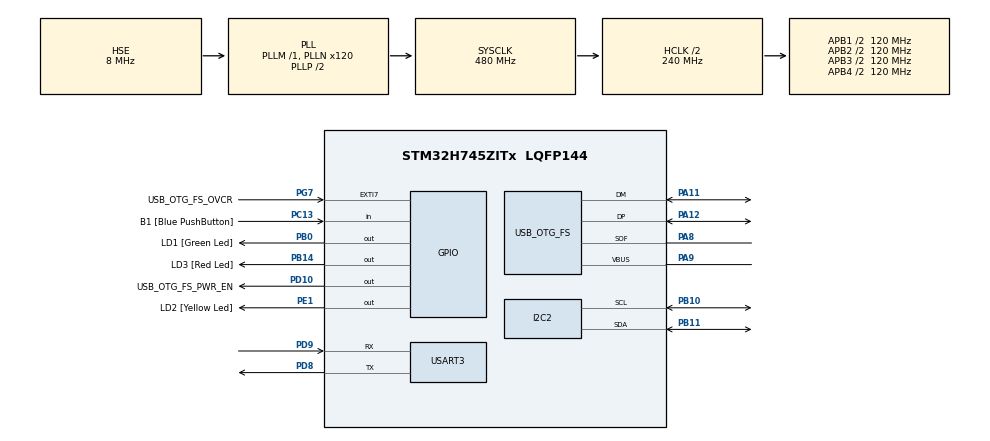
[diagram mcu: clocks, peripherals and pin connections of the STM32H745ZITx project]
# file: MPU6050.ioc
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CortexM4.IPs=FATFS_M4\:I,FREERTOS_M4\:I,IWDG2\:I,RCC,WWDG2\:I,DMA,BDMA,MDMA,NVIC2\:I,DEBUG,USB_DEVICE_M4\:I,USB_HOST_M4\:I,PDM2PCM_M4\:I,PWR,RESMGR_UTILITY,SYS_M4\:I,CORTEX_M4\:I,OPENAMP_M4\:I,VREFBUF
CortexM7.IPs=FATFS_M7\:I,FREERTOS_M7\:I,IWDG1\:I,RCC\:I,WWDG1\:I,DMA\:I,BDMA\:I,MDMA\:I,NVIC1\:I,SYS\:I,USART3\:I,USB_OTG_FS\:I,CORTEX_M7\:I,DEBUG\:I,USB_DEVICE_M7\:I,USB_HOST_M7\:I,PDM2PCM_M7\:I,PWR\:I,RESMGR_UTILITY\:I,OPENAMP_M7\:I,VREFBUF\:I,TIM7\:I,I2C2\:I
CortexM7.Pins=PB0
I2C2.Timing=0x307075B1
Mcu.Family=STM32H7
Mcu.Name=STM32H745ZITx
Mcu.Package=LQFP144
NVIC1.PriorityGroup=NVIC_PRIORITYGROUP_4
NVIC1.TIM7_IRQn=true\:0\:0\:false\:false\:true\:true\:true
NVIC2.PriorityGroup=NVIC_PRIORITYGROUP_4
PA1.PinAttribute=CortexM7
PA1.Signal=ETH_REF_CLK
PA11.Mode=Device_Only
PA11.PinAttribute=CortexM7
PA11.Signal=USB_OTG_FS_DM
PA12.Mode=Device_Only
PA12.PinAttribute=CortexM7
PA12.Signal=USB_OTG_FS_DP
PA2.PinAttribute=CortexM7
PA2.Signal=ETH_MDIO
PA7.PinAttribute=CortexM7
PA7.Signal=ETH_CRS_DV
PA8.Mode=Activate_SOF_FS
PA8.PinAttribute=CortexM7
PA8.Signal=USB_OTG_FS_SOF
PA9.Mode=Activate_VBUS
PA9.PinAttribute=CortexM7
PA9.Signal=USB_OTG_FS_VBUS
PB0.GPIO_Label=LD1 [Green Led]
PB0.GPIO_PuPd=GPIO_PULLUP
PB0.GPIO_Speed=GPIO_SPEED_FREQ_HIGH
PB0.PinAttribute=CortexM7
PB0.Signal=GPIO_Output
PB10.Mode=I2C
PB10.PinAttribute=CortexM7
PB10.Signal=I2C2_SCL
PB11.Mode=I2C
PB11.PinAttribute=CortexM7
PB11.Signal=I2C2_SDA
PB13.PinAttribute=CortexM7
PB13.Signal=ETH_TXD1
PB14.GPIO_Label=LD3 [Red Led]
PB14.PinAttribute=Free
PB14.Signal=GPIO_Output
PC1.PinAttribute=CortexM7
PC1.Signal=ETH_MDC
PC13.GPIO_Label=B1 [Blue PushButton]
PC13.PinAttribute=Free
PC13.Signal=GPIO_Input
PC14-OSC32_IN\ (OSC32_IN).Mode=LSE-External-Oscillator
PC14-OSC32_IN\ (OSC32_IN).PinAttribute=CortexM7
PC14-OSC32_IN\ (OSC32_IN).Signal=RCC_OSC32_IN
PC15-OSC32_OUT\ (OSC32_OUT).Mode=LSE-External-Oscillator
PC15-OSC32_OUT\ (OSC32_OUT).PinAttribute=CortexM7
PC15-OSC32_OUT\ (OSC32_OUT).Signal=RCC_OSC32_OUT
PC4.PinAttribute=CortexM7
PC4.Signal=ETH_RXD0
PC5.PinAttribute=CortexM7
PC5.Signal=ETH_RXD1
PD10.GPIO_Label=USB_OTG_FS_PWR_EN
PD10.PinAttribute=Free
PD10.Signal=GPIO_Output
PD8.GPIO_ModeDefaultPP=GPIO_MODE_AF_PP
PD8.GPIO_PuPd=GPIO_NOPULL
PD8.GPIO_Speed=GPIO_SPEED_FREQ_LOW
PD8.Mode=Asynchronous
PD8.PinAttribute=CortexM7
PD8.Signal=USART3_TX
PD9.GPIO_ModeDefaultPP=GPIO_MODE_AF_PP
PD9.GPIO_PuPd=GPIO_NOPULL
PD9.GPIO_Speed=GPIO_SPEED_FREQ_LOW
PD9.Mode=Asynchronous
PD9.PinAttribute=CortexM7
PD9.Signal=USART3_RX
PE1.GPIO_Label=LD2 [Yellow Led]
PE1.PinAttribute=Free
PE1.Signal=GPIO_Output
PG11.PinAttribute=CortexM7
PG11.Signal=ETH_TX_EN
PG13.PinAttribute=CortexM7
PG13.Signal=ETH_TXD0
PG7.GPIO_Label=USB_OTG_FS_OVCR
PG7.PinAttribute=Free
PG7.Signal=GPXTI7
PH0-OSC_IN\ (PH0).Mode=HSE-External-Clock-Source
PH0-OSC_IN\ (PH0).PinAttribute=CortexM7
PH0-OSC_IN\ (PH0).Signal=RCC_OSC_IN
PH1-OSC_OUT\ (PH1).PinAttribute=CortexM7
PH1-OSC_OUT\ (PH1).Signal=RCC_OSC_OUT
ProjectManager.HeapSize=M4-0x200,M7-0x200
ProjectManager.StackSize=M4-0x400,M7-0x400
ProjectManager.TargetToolchain=STM32CubeIDE
RCC.ADCFreq_Value=16125000
RCC.APB1Freq_Value=120000000
RCC.APB2Freq_Value=120000000
RCC.APB3Freq_Value=120000000
RCC.APB4Freq_Value=120000000
RCC.CortexFreq_Value=480000000
RCC.D1PPRE=RCC_APB3_DIV2
RCC.D2PPRE1=RCC_APB1_DIV2
RCC.D2PPRE2=RCC_APB2_DIV2
RCC.D3PPRE=RCC_APB4_DIV2
RCC.DIVM1=1
RCC.DIVM3=1
RCC.DIVN1=120
RCC.DIVN3=24
RCC.DIVQ3=4
RCC.HCLKFreq_Value=240000000
RCC.HPRE=RCC_HCLK_DIV2
RCC.HSE_VALUE=8000000
RCC.PLL2FRACN=0
RCC.PLL3FRACN=0
RCC.PLLFRACN=0
RCC.SYSCLKFreq_VALUE=480000000
RCC.SYSCLKSource=RCC_SYSCLKSOURCE_PLLCLK
RCC.SupplySource=PWR_DIRECT_SMPS_SUPPLY
RCC.USBCLockSelection=RCC_USBCLKSOURCE_PLL3
RCC.USBFreq_Value=48000000
TIM7.Period=4999
TIM7.Prescaler=47999
USART3.VirtualMode-Asynchronous=VM_ASYNC
USB_OTG_FS.VirtualMode=Device_Only
VP_SYS_M4_VS_Systick.Mode=SysTick
VP_TIM7_VS_ClockSourceINT.Mode=Enable_Timer
board=NUCLEO-H745ZI-Q

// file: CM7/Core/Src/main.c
/* USER CODE BEGIN Header */
/**
  ******************************************************************************
  * @file           : main.c
  * @brief          : Main program body
  ******************************************************************************
  * @attention
  *
  * <h2><center>&copy; Copyright (c) 2021 STMicroelectronics.
  * All rights reserved.</center></h2>
  *
  * This software component is licensed by ST under BSD 3-Clause license,
  * the "License"; You may not use this file except in compliance with the
  * License. You may obtain a copy of the License at:
  *                        opensource.org/licenses/BSD-3-Clause
  *
  ******************************************************************************
  */
/* USER CODE END Header */
#include "main.h"

/* USER CODE BEGIN Includes */
#include "stdio.h"
/* USER CODE END Includes */

/* USER CODE BEGIN PD */

#ifndef HSEM_ID_0
#define HSEM_ID_0 (0U) /* HW semaphore 0*/
#endif
/* USER CODE END PD */

I2C_HandleTypeDef hi2c2;

TIM_HandleTypeDef htim7;

UART_HandleTypeDef huart3;

PCD_HandleTypeDef hpcd_USB_OTG_FS;

void SystemClock_Config(void);
static void MX_GPIO_Init(void);
static void MX_USART3_UART_Init(void);
static void MX_USB_OTG_FS_PCD_Init(void);
static void MX_TIM7_Init(void);
static void MX_I2C2_Init(void);

/* USER CODE BEGIN 0 */

#define WHO_AM_I 0X75
#define SMPLRT_DIV 0x19
#define GYRO_CONFIG 0X1B
#define ACCEL_CONFIG 0x1C
#define ACCEL_XOUT_H 0x3B
#define TEMP_OUT_H 0x41
#define GYRO_XOUT_H 0x43
#define PWR_MGMT_1 0x6B
#define MPU6050 0xD0 // acceletometer direciont

void MPU6050_init(){
	uint8_t check; // check data
	uint8_t data; //send data

	HAL_I2C_Mem_Read(&hi2c2,  MPU6050 , WHO_AM_I, 1, &check, 1, 1000);
	if(check == 104){ // WHO_I_AM Register default value

		// COnfigure clock to 8MHZ oscilator
		data = 0x00;
		HAL_I2C_Mem_Write(&hi2c2, MPU6050, PWR_MGMT_1, 1, &data, 1, 1000);
		/* Sample rate = 8khz/(1+SMPLRT_DIV)
		 * Send 7 to SMPLRT_DIV register to obtain 1khz sample rate
		 * */
		data = 0x07;
		HAL_I2C_Mem_Write(&hi2c2, MPU6050 , SMPLRT_DIV, 1, &data, 1, 1000);

		// Configure giroscope Full scale range
		// +-250 °/s => FS_SEL = 0
		data = 0x00;
		HAL_I2C_Mem_Write(&hi2c2, MPU6050 , GYRO_CONFIG, 1, &data, 1, 1000);
		// cONFIGURE ACCELEROMETER
		// +-2 G => AFS_SEL = 0
		data = 0x00;
		HAL_I2C_Mem_Write(&hi2c2, MPU6050 , ACCEL_CONFIG, 1, &data, 1, 1000);

		for(int i = 0;i < 5;i++){ // confirmation
			HAL_GPIO_WritePin(GPIOB, GPIO_PIN_0, GPIO_PIN_SET);
			HAL_Delay(500);
			HAL_GPIO_WritePin(GPIOB, GPIO_PIN_0, GPIO_PIN_RESET);
			HAL_Delay(500);

		}

	}
}

void MPU6050_read_acc(){
	uint8_t buffer[6];
	int16_t ax_raw,ay_raw,az_raw;
	float ax,ay,az;
	HAL_I2C_Mem_Read(&hi2c2, MPU6050, ACCEL_XOUT_H, 1, &buffer, 6, 1000);
	ax_raw = (int16_t)(buffer[0] << 8 | buffer[1]);
	ay_raw = (int16_t)(buffer[2] << 8 | buffer[3]);
	az_raw = (int16_t)(buffer[4] << 8 | buffer[5]);

	ax = ax_raw/16384.0;
	ay = ay_raw/16384.0;
	az = az_raw/16384.0;

	// uart transfer
	char uartBuffer[50];
	uint8_t uart_buff_len;

	uart_buff_len = sprintf(uartBuffer,"Accelerometer \r\n");
	HAL_UART_Transmit(&huart3, (uint8_t *) uartBuffer, uart_buff_len, 1000);

	uart_buff_len = sprintf(uartBuffer,"AX: %.2f m/s^2 \r\n",ax);
	HAL_UART_Transmit(&huart3, (uint8_t *) uartBuffer, uart_buff_len, 1000);

	uart_buff_len = sprintf(uartBuffer,"AY: %.2f m/s^2 \r\n",ay);
	HAL_UART_Transmit(&huart3, (uint8_t *) uartBuffer, uart_buff_len, 1000);

	uart_buff_len = sprintf(uartBuffer,"AZ: %.2f m/s^2 \r\n",az);
	HAL_UART_Transmit(&huart3, (uint8_t *) uartBuffer, uart_buff_len, 1000);

}

void MPU6050_read_gyro(){
	uint8_t buffer[6];
	int16_t gx_raw,gy_raw,gz_raw;
	float gx,gy,gz;
	HAL_I2C_Mem_Read(&hi2c2, MPU6050, GYRO_XOUT_H, 1, buffer, 6, 1000);
	gx_raw = (int16_t)(buffer[0] << 8 | buffer [1]);
	gy_raw = (int16_t)(buffer[2] << 8 | buffer [3]);
	gz_raw = (int16_t)(buffer[4] << 8 | buffer [5]);

	gx = gx_raw/131.0;
	gy = gy_raw/131.0;
	gz = gz_raw/131.0;

	// uart transfer
	char uartBuffer[50];
	uint8_t uart_buff_len;

	uart_buff_len = sprintf(uartBuffer,"Giroscope \r\n");
	HAL_UART_Transmit(&huart3, (uint8_t *) uartBuffer, uart_buff_len, 1000);

	uart_buff_len = sprintf(uartBuffer,"GX: %.2f °/s \r\n",gx);
	HAL_UART_Transmit(&huart3, (uint8_t *) uartBuffer, uart_buff_len, 1000);

	uart_buff_len = sprintf(uartBuffer,"GY: %.2f °/s \r\n",gy);
	HAL_UART_Transmit(&huart3, (uint8_t *) uartBuffer, uart_buff_len, 1000);

	uart_buff_len = sprintf(uartBuffer,"GZ: %.2f °/s \r\n",gz);
	HAL_UART_Transmit(&huart3, (uint8_t *) uartBuffer, uart_buff_len, 1000);
}

/* USER CODE END 0 */

int main(void)
{
/* USER CODE BEGIN Boot_Mode_Sequence_0 */
  int32_t timeout;
/* USER CODE END Boot_Mode_Sequence_0 */

/* USER CODE BEGIN Boot_Mode_Sequence_1 */
  /* Wait until CPU2 boots and enters in stop mode or timeout*/
  timeout = 0xFFFF;
  while((__HAL_RCC_GET_FLAG(RCC_FLAG_D2CKRDY) != RESET) && (timeout-- > 0));
  if ( timeout < 0 )
  {
  Error_Handler();
  }
/* USER CODE END Boot_Mode_Sequence_1 */
  /* MCU Configuration--------------------------------------------------------*/

  /* Reset of all peripherals, Initializes the Flash interface and the Systick. */
  HAL_Init();

  /* Configure the system clock */
  SystemClock_Config();
/* USER CODE BEGIN Boot_Mode_Sequence_2 */
/* When system initialization is finished, Cortex-M7 will release Cortex-M4 by means of
HSEM notification */
/*HW semaphore Clock enable*/
__HAL_RCC_HSEM_CLK_ENABLE();
/*Take HSEM */
HAL_HSEM_FastTake(HSEM_ID_0);
/*Release HSEM in order to notify the CPU2(CM4)*/
HAL_HSEM_Release(HSEM_ID_0,0);
/* wait until CPU2 wakes up from stop mode */
timeout = 0xFFFF;
while((__HAL_RCC_GET_FLAG(RCC_FLAG_D2CKRDY) == RESET) && (timeout-- > 0));
if ( timeout < 0 )
{
Error_Handler();
}
/* USER CODE END Boot_Mode_Sequence_2 */

  /* Initialize all configured peripherals */
  MX_GPIO_Init();
  MX_USART3_UART_Init();
  MX_USB_OTG_FS_PCD_Init();
  MX_TIM7_Init();
  MX_I2C2_Init();
  /* USER CODE BEGIN 2 */
  HAL_TIM_Base_Start_IT(&htim7);
  MPU6050_init();

  /* USER CODE END 2 */

  /* Infinite loop */
  while (1)
  {

  }
}

void SystemClock_Config(void)
{
  RCC_OscInitTypeDef RCC_OscInitStruct = {0};
  RCC_ClkInitTypeDef RCC_ClkInitStruct = {0};

  /** Supply configuration update enable
  */
  HAL_PWREx_ConfigSupply(PWR_DIRECT_SMPS_SUPPLY);
  /** Configure the main internal regulator output voltage
  */
  __HAL_PWR_VOLTAGESCALING_CONFIG(PWR_REGULATOR_VOLTAGE_SCALE0);

  while(!__HAL_PWR_GET_FLAG(PWR_FLAG_VOSRDY)) {}
  /** Macro to configure the PLL clock source
  */
  __HAL_RCC_PLL_PLLSOURCE_CONFIG(RCC_PLLSOURCE_HSE);
  /** Initializes the RCC Oscillators according to the specified parameters
  * in the RCC_OscInitTypeDef structure.
  */
  RCC_OscInitStruct.OscillatorType = RCC_OSCILLATORTYPE_HSE;
  RCC_OscInitStruct.HSEState = RCC_HSE_BYPASS;
  RCC_OscInitStruct.PLL.PLLState = RCC_PLL_ON;
  RCC_OscInitStruct.PLL.PLLSource = RCC_PLLSOURCE_HSE;
  RCC_OscInitStruct.PLL.PLLM = 1;
  RCC_OscInitStruct.PLL.PLLN = 120;
  RCC_OscInitStruct.PLL.PLLP = 2;
  RCC_OscInitStruct.PLL.PLLQ = 2;
  RCC_OscInitStruct.PLL.PLLR = 2;
  RCC_OscInitStruct.PLL.PLLRGE = RCC_PLL1VCIRANGE_3;
  RCC_OscInitStruct.PLL.PLLVCOSEL = RCC_PLL1VCOWIDE;
  RCC_OscInitStruct.PLL.PLLFRACN = 0;
  if (HAL_RCC_OscConfig(&RCC_OscInitStruct) != HAL_OK)
  {
    Error_Handler();
  }
  /** Initializes the CPU, AHB and APB buses clocks
  */
  RCC_ClkInitStruct.ClockType = RCC_CLOCKTYPE_HCLK|RCC_CLOCKTYPE_SYSCLK
                              |RCC_CLOCKTYPE_PCLK1|RCC_CLOCKTYPE_PCLK2
                              |RCC_CLOCKTYPE_D3PCLK1|RCC_CLOCKTYPE_D1PCLK1;
  RCC_ClkInitStruct.SYSCLKSource = RCC_SYSCLKSOURCE_PLLCLK;
  RCC_ClkInitStruct.SYSCLKDivider = RCC_SYSCLK_DIV1;
  RCC_ClkInitStruct.AHBCLKDivider = RCC_HCLK_DIV2;
  RCC_ClkInitStruct.APB3CLKDivider = RCC_APB3_DIV2;
  RCC_ClkInitStruct.APB1CLKDivider = RCC_APB1_DIV2;
  RCC_ClkInitStruct.APB2CLKDivider = RCC_APB2_DIV2;
  RCC_ClkInitStruct.APB4CLKDivider = RCC_APB4_DIV2;

  if (HAL_RCC_ClockConfig(&RCC_ClkInitStruct, FLASH_LATENCY_4) != HAL_OK)
  {
    Error_Handler();
  }
}

static void MX_I2C2_Init(void)
{

  hi2c2.Instance = I2C2;
  hi2c2.Init.Timing = 0x307075B1;
  hi2c2.Init.OwnAddress1 = 0;
  hi2c2.Init.AddressingMode = I2C_ADDRESSINGMODE_7BIT;
  hi2c2.Init.DualAddressMode = I2C_DUALADDRESS_DISABLE;
  hi2c2.Init.OwnAddress2 = 0;
  hi2c2.Init.OwnAddress2Masks = I2C_OA2_NOMASK;
  hi2c2.Init.GeneralCallMode = I2C_GENERALCALL_DISABLE;
  hi2c2.Init.NoStretchMode = I2C_NOSTRETCH_DISABLE;
  if (HAL_I2C_Init(&hi2c2) != HAL_OK)
  {
    Error_Handler();
  }
  /** Configure Analogue filter
  */
  if (HAL_I2CEx_ConfigAnalogFilter(&hi2c2, I2C_ANALOGFILTER_ENABLE) != HAL_OK)
  {
    Error_Handler();
  }
  /** Configure Digital filter
  */
  if (HAL_I2CEx_ConfigDigitalFilter(&hi2c2, 0) != HAL_OK)
  {
    Error_Handler();
  }

}

static void MX_TIM7_Init(void)
{

  TIM_MasterConfigTypeDef sMasterConfig = {0};

  htim7.Instance = TIM7;
  htim7.Init.Prescaler = 47999;
  htim7.Init.CounterMode = TIM_COUNTERMODE_UP;
  htim7.Init.Period = 4999;
  htim7.Init.AutoReloadPreload = TIM_AUTORELOAD_PRELOAD_DISABLE;
  if (HAL_TIM_Base_Init(&htim7) != HAL_OK)
  {
    Error_Handler();
  }
  sMasterConfig.MasterOutputTrigger = TIM_TRGO_RESET;
  sMasterConfig.MasterSlaveMode = TIM_MASTERSLAVEMODE_DISABLE;
  if (HAL_TIMEx_MasterConfigSynchronization(&htim7, &sMasterConfig) != HAL_OK)
  {
    Error_Handler();
  }

}

static void MX_USART3_UART_Init(void)
{

  huart3.Instance = USART3;
  huart3.Init.BaudRate = 115200;
  huart3.Init.WordLength = UART_WORDLENGTH_8B;
  huart3.Init.StopBits = UART_STOPBITS_1;
  huart3.Init.Parity = UART_PARITY_NONE;
  huart3.Init.Mode = UART_MODE_TX_RX;
  huart3.Init.HwFlowCtl = UART_HWCONTROL_NONE;
  huart3.Init.OverSampling = UART_OVERSAMPLING_16;
  huart3.Init.OneBitSampling = UART_ONE_BIT_SAMPLE_DISABLE;
  huart3.Init.ClockPrescaler = UART_PRESCALER_DIV1;
  huart3.AdvancedInit.AdvFeatureInit = UART_ADVFEATURE_NO_INIT;
  if (HAL_UART_Init(&huart3) != HAL_OK)
  {
    Error_Handler();
  }
  if (HAL_UARTEx_SetTxFifoThreshold(&huart3, UART_TXFIFO_THRESHOLD_1_8) != HAL_OK)
  {
    Error_Handler();
  }
  if (HAL_UARTEx_SetRxFifoThreshold(&huart3, UART_RXFIFO_THRESHOLD_1_8) != HAL_OK)
  {
    Error_Handler();
  }
  if (HAL_UARTEx_DisableFifoMode(&huart3) != HAL_OK)
  {
    Error_Handler();
  }

}

static void MX_USB_OTG_FS_PCD_Init(void)
{

  hpcd_USB_OTG_FS.Instance = USB_OTG_FS;
  hpcd_USB_OTG_FS.Init.dev_endpoints = 9;
  hpcd_USB_OTG_FS.Init.speed = PCD_SPEED_FULL;
  hpcd_USB_OTG_FS.Init.dma_enable = DISABLE;
  hpcd_USB_OTG_FS.Init.phy_itface = PCD_PHY_EMBEDDED;
  hpcd_USB_OTG_FS.Init.Sof_enable = DISABLE;
  hpcd_USB_OTG_FS.Init.low_power_enable = DISABLE;
  hpcd_USB_OTG_FS.Init.lpm_enable = DISABLE;
  hpcd_USB_OTG_FS.Init.battery_charging_enable = ENABLE;
  hpcd_USB_OTG_FS.Init.vbus_sensing_enable = ENABLE;
  hpcd_USB_OTG_FS.Init.use_dedicated_ep1 = DISABLE;
  if (HAL_PCD_Init(&hpcd_USB_OTG_FS) != HAL_OK)
  {
    Error_Handler();
  }

}

static void MX_GPIO_Init(void)
{
  GPIO_InitTypeDef GPIO_InitStruct = {0};

  /* GPIO Ports Clock Enable */
  __HAL_RCC_GPIOC_CLK_ENABLE();
  __HAL_RCC_GPIOH_CLK_ENABLE();
  __HAL_RCC_GPIOB_CLK_ENABLE();
  __HAL_RCC_GPIOD_CLK_ENABLE();
  __HAL_RCC_GPIOA_CLK_ENABLE();

  /*Configure GPIO pin Output Level */
  HAL_GPIO_WritePin(LD1_GPIO_Port, LD1_Pin, GPIO_PIN_RESET);

  /*Configure GPIO pin : LD1_Pin */
  GPIO_InitStruct.Pin = LD1_Pin;
  GPIO_InitStruct.Mode = GPIO_MODE_OUTPUT_PP;
  GPIO_InitStruct.Pull = GPIO_PULLUP;
  GPIO_InitStruct.Speed = GPIO_SPEED_FREQ_HIGH;
  HAL_GPIO_Init(LD1_GPIO_Port, &GPIO_InitStruct);

}

/* USER CODE BEGIN 4 */
void HAL_TIM_PeriodElapsedCallback(TIM_HandleTypeDef *htim) {
	if(htim == &htim7){
		MPU6050_read_acc();
		MPU6050_read_gyro();
	}
}
/* USER CODE END 4 */

void Error_Handler(void)
{
  __disable_irq();
  while (1)
  {
  }
}

/************************ (C) COPYRIGHT STMicroelectronics *****END OF FILE****/
